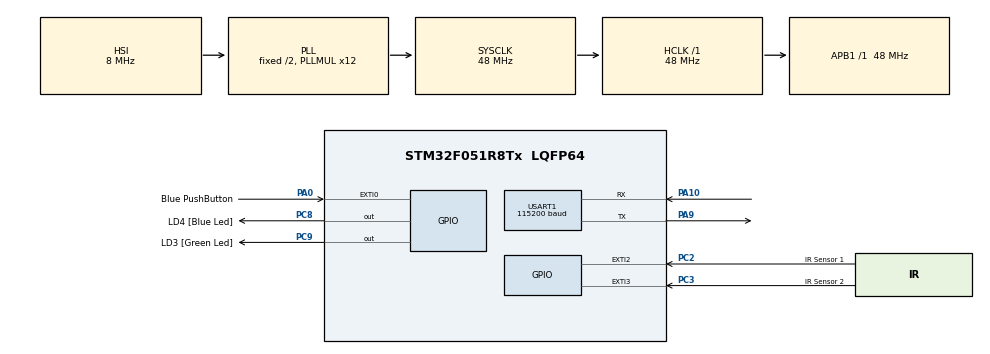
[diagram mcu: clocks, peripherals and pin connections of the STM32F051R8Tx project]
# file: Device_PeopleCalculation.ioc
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FREERTOS.Tasks01=UART_Com,24,64,StartUART,Default,NULL,Dynamic,NULL,NULL;LED_Blink,8,64,StartLEDBlink,Default,NULL,Dynamic,NULL,NULL;IRSensor,40,64,StartIRSensor,Default,NULL,Dynamic,NULL,NULL;FlashMemCheck,8,64,StartMemoryCheck,Default,NULL,Dynamic,NULL,NULL
FREERTOS.configMINIMAL_STACK_SIZE=64
FREERTOS.configTOTAL_HEAP_SIZE=2048
FREERTOS.configUSE_NEWLIB_REENTRANT=1
Mcu.Family=STM32F0
Mcu.Name=STM32F051R8Tx
Mcu.Package=LQFP64
NVIC.EXTI2_3_IRQn=true\:3\:0\:false\:false\:true\:true\:true\:true\:true
NVIC.PVD_IRQn=true\:3\:0\:false\:false\:true\:true\:true\:true\:true
NVIC.TIM6_DAC_IRQn=true\:3\:0\:false\:false\:true\:false\:false\:true\:true
NVIC.TimeBase=TIM6_DAC_IRQn
NVIC.TimeBaseIP=TIM6
NVIC.USART1_IRQn=true\:3\:0\:false\:false\:true\:true\:true\:true\:true
PA0.GPIO_Label=Blue PushButton
PA0.GPIO_ModeDefaultEXTI=GPIO_MODE_EVT_RISING
PA0.Signal=GPXTI0
PA10.Mode=Asynchronous
PA10.Signal=USART1_RX
PA13.GPIO_Label=SWDIO
PA13.Mode=Serial_Wire
PA13.Signal=SYS_SWDIO
PA14.GPIO_Label=SWCLK
PA14.Mode=Serial_Wire
PA14.Signal=SYS_SWCLK
PA9.Mode=Asynchronous
PA9.Signal=USART1_TX
PC2.GPIO_Label=IR Sensor 1
PC2.GPIO_ModeDefaultEXTI=GPIO_MODE_IT_RISING_FALLING
PC2.Signal=GPXTI2
PC3.GPIO_Label=IR Sensor 2
PC3.GPIO_ModeDefaultEXTI=GPIO_MODE_IT_RISING_FALLING
PC3.Signal=GPXTI3
PC8.GPIO_Label=LD4 [Blue Led]
PC8.Signal=GPIO_Output
PC9.GPIO_Label=LD3 [Green Led]
PC9.GPIO_Speed=GPIO_SPEED_FREQ_HIGH
PC9.Signal=GPIO_Output
ProjectManager.HeapSize=0x200
ProjectManager.StackSize=0x400
ProjectManager.TargetToolchain=STM32CubeIDE
RCC.AHBFreq_Value=48000000
RCC.APB1Freq_Value=48000000
RCC.APB1TimFreq_Value=48000000
RCC.HCLKFreq_Value=48000000
RCC.PLLMUL=RCC_PLL_MUL12
RCC.SYSCLKFreq_VALUE=48000000
RCC.SYSCLKSource=RCC_SYSCLKSOURCE_PLLCLK
USART1.BaudRate=115200
USART1.VirtualMode-Asynchronous=VM_ASYNC
VP_FREERTOS_VS_CMSIS_V2.Mode=CMSIS_V2
VP_SYS_VS_tim6.Mode=TIM6
board=STM32F0DISCOVERY

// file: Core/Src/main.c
/* USER CODE BEGIN Header */
/**
  ******************************************************************************
  * @file           : main.c
  * @brief          : Main program body
  ******************************************************************************
  * @attention
  *
  * Copyright (c) 2023 STMicroelectronics.
  * All rights reserved.
  *
  * This software is licensed under terms that can be found in the LICENSE file
  * in the root directory of this software component.
  * If no LICENSE file comes with this software, it is provided AS-IS.
  *
  ******************************************************************************
  */
/* USER CODE END Header */
#include "main.h"
#include "cmsis_os.h"

/* USER CODE BEGIN Includes */
#include <string.h>
/* USER CODE END Includes */

UART_HandleTypeDef huart1;

/* Definitions for UART_Com */
osThreadId_t UART_ComHandle;
const osThreadAttr_t UART_Com_attributes = {
  .name = "UART_Com",
  .stack_size = 64 * 4,
  .priority = (osPriority_t) osPriorityNormal,
};
/* Definitions for LED_Blink */
osThreadId_t LED_BlinkHandle;
const osThreadAttr_t LED_Blink_attributes = {
  .name = "LED_Blink",
  .stack_size = 64 * 4,
  .priority = (osPriority_t) osPriorityLow,
};
/* Definitions for IRSensor */
osThreadId_t IRSensorHandle;
const osThreadAttr_t IRSensor_attributes = {
  .name = "IRSensor",
  .stack_size = 64 * 4,
  .priority = (osPriority_t) osPriorityHigh,
};
/* Definitions for FlashMemCheck */
osThreadId_t FlashMemCheckHandle;
const osThreadAttr_t FlashMemCheck_attributes = {
  .name = "FlashMemCheck",
  .stack_size = 64 * 4,
  .priority = (osPriority_t) osPriorityLow,
};
/* USER CODE BEGIN PV */

HAL_StatusTypeDef uartState;
uint8_t uartBuffer[BUFFER_SIZE] = "Hi!\r\n";
uint32_t flashBuffer[4];
uint32_t peopleInCount = 0;
uint32_t peopleOutCount = 0;
GPIO_PinState sensorState = GPIO_PIN_SET;
GPIO_PinState sensor1State = GPIO_PIN_SET;
GPIO_PinState sensor2State = GPIO_PIN_SET;
uint8_t sensorMessage[SENSOR_MESSAGE_SIZE] = "Object detected!\r\n";
uint8_t sensorMessageIn[SENSOR_MESSAGE_SIZE] = "Object IN!\r\n";
uint8_t sensorMessageOut[SENSOR_MESSAGE_SIZE] = "Object OUT!\r\n";
uint8_t messageBrownOUT[SENSOR_MESSAGE_SIZE] = "Brownout detected!\r\n";
uint32_t sensor1Timestamp;
uint32_t sensor2Timestamp;
FLASH_EraseInitTypeDef EraseInitStruct;
uint32_t PageError;

USER_DATA_EVENTS dataEvent = Transmitted;

/* USER CODE END PV */

void SystemClock_Config(void);
static void MX_GPIO_Init(void);
static void MX_USART1_UART_Init(void);
void StartUART(void *argument);
void StartLEDBlink(void *argument);
void StartIRSensor(void *argument);
void StartMemoryCheck(void *argument);

/* USER CODE BEGIN PFP */
uint32_t FlashEraseData(FLASH_EraseInitTypeDef EraseInitStruct, uint32_t PageError);
uint32_t FlashWriteData(uint32_t startPageAddress, uint32_t *data, uint16_t wordsNumber);
void FlashReadData(uint32_t startPageAddress, uint32_t *rxBuffer, uint16_t wordsNumber);
void ConvertToStr(uint32_t num1, uint32_t num2, uint8_t* buf);
void updateBuffer(uint32_t* buffer);
void Init_PVD();
void HAL_PWR_PVDCallback();
/* USER CODE END PFP */

int main(void)
{

  /* MCU Configuration--------------------------------------------------------*/

  /* Reset of all peripherals, Initializes the Flash interface and the Systick. */
  HAL_Init();

  /* Configure the system clock */
  SystemClock_Config();

  /* Initialize all configured peripherals */
  MX_GPIO_Init();
  MX_USART1_UART_Init();
  /* USER CODE BEGIN 2 */
  __HAL_UART_ENABLE_IT(&huart1, UART_IT_RXNE);
  __HAL_UART_ENABLE_IT(&huart1, UART_IT_TC);

//  Init_PVD();

  EraseInitStruct.TypeErase = FLASH_TYPEERASE_PAGES;
  EraseInitStruct.PageAddress = USER_DATA_START_PAGE_ADDRESS;
  EraseInitStruct.NbPages = 1;
  /* USER CODE END 2 */

  /* Init scheduler */
  osKernelInitialize();

  /* Create the thread(s) */
  /* creation of UART_Com */
  UART_ComHandle = osThreadNew(StartUART, NULL, &UART_Com_attributes);

  /* creation of LED_Blink */
  LED_BlinkHandle = osThreadNew(StartLEDBlink, NULL, &LED_Blink_attributes);

  /* creation of IRSensor */
  IRSensorHandle = osThreadNew(StartIRSensor, NULL, &IRSensor_attributes);

  /* creation of FlashMemCheck */
  FlashMemCheckHandle = osThreadNew(StartMemoryCheck, NULL, &FlashMemCheck_attributes);

  /* Start scheduler */
  osKernelStart();
  /* We should never get here as control is now taken by the scheduler */
  /* Infinite loop */
  while (1)
  {

  }
}

void SystemClock_Config(void)
{
  RCC_OscInitTypeDef RCC_OscInitStruct = {0};
  RCC_ClkInitTypeDef RCC_ClkInitStruct = {0};
  RCC_PeriphCLKInitTypeDef PeriphClkInit = {0};

  /** Initializes the RCC Oscillators according to the specified parameters
  * in the RCC_OscInitTypeDef structure.
  */
  RCC_OscInitStruct.OscillatorType = RCC_OSCILLATORTYPE_HSI;
  RCC_OscInitStruct.HSIState = RCC_HSI_ON;
  RCC_OscInitStruct.HSICalibrationValue = RCC_HSICALIBRATION_DEFAULT;
  RCC_OscInitStruct.PLL.PLLState = RCC_PLL_ON;
  RCC_OscInitStruct.PLL.PLLSource = RCC_PLLSOURCE_HSI;
  RCC_OscInitStruct.PLL.PLLMUL = RCC_PLL_MUL12;
  RCC_OscInitStruct.PLL.PREDIV = RCC_PREDIV_DIV1;
  if (HAL_RCC_OscConfig(&RCC_OscInitStruct) != HAL_OK)
  {
    Error_Handler();
  }

  /** Initializes the CPU, AHB and APB buses clocks
  */
  RCC_ClkInitStruct.ClockType = RCC_CLOCKTYPE_HCLK|RCC_CLOCKTYPE_SYSCLK
                              |RCC_CLOCKTYPE_PCLK1;
  RCC_ClkInitStruct.SYSCLKSource = RCC_SYSCLKSOURCE_PLLCLK;
  RCC_ClkInitStruct.AHBCLKDivider = RCC_SYSCLK_DIV1;
  RCC_ClkInitStruct.APB1CLKDivider = RCC_HCLK_DIV1;

  if (HAL_RCC_ClockConfig(&RCC_ClkInitStruct, FLASH_LATENCY_1) != HAL_OK)
  {
    Error_Handler();
  }
  PeriphClkInit.PeriphClockSelection = RCC_PERIPHCLK_USART1;
  PeriphClkInit.Usart1ClockSelection = RCC_USART1CLKSOURCE_PCLK1;
  if (HAL_RCCEx_PeriphCLKConfig(&PeriphClkInit) != HAL_OK)
  {
    Error_Handler();
  }
}

static void MX_USART1_UART_Init(void)
{

  huart1.Instance = USART1;
  huart1.Init.BaudRate = 115200;
  huart1.Init.WordLength = UART_WORDLENGTH_8B;
  huart1.Init.StopBits = UART_STOPBITS_1;
  huart1.Init.Parity = UART_PARITY_NONE;
  huart1.Init.Mode = UART_MODE_TX_RX;
  huart1.Init.HwFlowCtl = UART_HWCONTROL_NONE;
  huart1.Init.OverSampling = UART_OVERSAMPLING_16;
  huart1.Init.OneBitSampling = UART_ONE_BIT_SAMPLE_DISABLE;
  huart1.AdvancedInit.AdvFeatureInit = UART_ADVFEATURE_NO_INIT;
  if (HAL_UART_Init(&huart1) != HAL_OK)
  {
    Error_Handler();
  }

}

static void MX_GPIO_Init(void)
{
  GPIO_InitTypeDef GPIO_InitStruct = {0};

  /* GPIO Ports Clock Enable */
  __HAL_RCC_GPIOC_CLK_ENABLE();
  __HAL_RCC_GPIOA_CLK_ENABLE();

  /*Configure GPIO pin Output Level */
  HAL_GPIO_WritePin(GPIOC, LD4_Pin|LD3_Pin, GPIO_PIN_RESET);

  /*Configure GPIO pins : IR_Sensor_1_Pin IR_Sensor_2_Pin */
  GPIO_InitStruct.Pin = IR_Sensor_1_Pin|IR_Sensor_2_Pin;
  GPIO_InitStruct.Mode = GPIO_MODE_IT_RISING_FALLING;
  GPIO_InitStruct.Pull = GPIO_NOPULL;
  HAL_GPIO_Init(GPIOC, &GPIO_InitStruct);

  /*Configure GPIO pin : Blue_PushButton_Pin */
  GPIO_InitStruct.Pin = Blue_PushButton_Pin;
  GPIO_InitStruct.Mode = GPIO_MODE_EVT_RISING;
  GPIO_InitStruct.Pull = GPIO_NOPULL;
  HAL_GPIO_Init(Blue_PushButton_GPIO_Port, &GPIO_InitStruct);

  /*Configure GPIO pin : LD4_Pin */
  GPIO_InitStruct.Pin = LD4_Pin;
  GPIO_InitStruct.Mode = GPIO_MODE_OUTPUT_PP;
  GPIO_InitStruct.Pull = GPIO_NOPULL;
  GPIO_InitStruct.Speed = GPIO_SPEED_FREQ_LOW;
  HAL_GPIO_Init(LD4_GPIO_Port, &GPIO_InitStruct);

  /*Configure GPIO pin : LD3_Pin */
  GPIO_InitStruct.Pin = LD3_Pin;
  GPIO_InitStruct.Mode = GPIO_MODE_OUTPUT_PP;
  GPIO_InitStruct.Pull = GPIO_NOPULL;
  GPIO_InitStruct.Speed = GPIO_SPEED_FREQ_HIGH;
  HAL_GPIO_Init(LD3_GPIO_Port, &GPIO_InitStruct);

  /* EXTI interrupt init*/
  HAL_NVIC_SetPriority(EXTI2_3_IRQn, 3, 0);
  HAL_NVIC_EnableIRQ(EXTI2_3_IRQn);

}

/* USER CODE BEGIN 4 */

///=========================================================================
/// @brief Function for transmiting echo message via UART
///=========================================================================
void HAL_UARTEx_RxEventCallback(UART_HandleTypeDef *huart, uint16_t Size)
{
	if (huart->Instance == USART1)
	{
		HAL_UART_Transmit_IT(&huart1, uartBuffer, Size);
		HAL_UARTEx_ReceiveToIdle_IT(&huart1, uartBuffer, sizeof(uartBuffer));
		uartState = HAL_OK;
	}
}

///=========================================================================
/// @brief Function for tracking UART errors
///=========================================================================
void HAL_UART_ErrorCallback(UART_HandleTypeDef *huart)
{
	if (huart->Instance == USART1)
	{
		uartState = HAL_ERROR;
	}
}

///=========================================================================
/// @brief Function for sensor interrupt callback
///=========================================================================
void HAL_GPIO_EXTI_Callback(uint16_t GPIO_Pin)
{
	if (HAL_GPIO_ReadPin(GPIOC, GPIO_PIN_2) == GPIO_PIN_RESET)
	{
      sensor1State = GPIO_PIN_RESET;
      sensor1Timestamp = HAL_GetTick();
	}
	if (HAL_GPIO_ReadPin(GPIOC, GPIO_PIN_3) == GPIO_PIN_RESET)
	{
      sensor2State = GPIO_PIN_RESET;
      sensor2Timestamp = HAL_GetTick();
	}
}

///=========================================================================
/// @brief Function for initializing PVD for brownout handling
///=========================================================================
void Init_PVD()
{
    PWR_PVDTypeDef sConfigPVD;

    sConfigPVD.PVDLevel = PWR_PVDLEVEL_7;
    sConfigPVD.Mode = PWR_PVD_MODE_IT_RISING_FALLING;

    HAL_PWR_ConfigPVD(&sConfigPVD);
    HAL_PWR_EnablePVD();
}

///=========================================================================
/// @brief Function for data saving after brownout detection
///=========================================================================
void HAL_PWR_PVDCallback()
{
    updateBuffer(flashBuffer);
	FlashWriteData(USER_DATA_START_PAGE_ADDRESS, (uint32_t *)flashBuffer, 4);
	HAL_UART_Transmit_IT(&huart1, messageBrownOUT, SENSOR_MESSAGE_SIZE);
}

///=========================================================================
/// @brief Function for erasing specific data page in flash memory
/// @return result (success == 0)
///=========================================================================
uint32_t FlashEraseData(FLASH_EraseInitTypeDef EraseInitStruct, uint32_t PageError)
{
	HAL_FLASH_Unlock();
	if (HAL_FLASHEx_Erase(&EraseInitStruct, &PageError) != HAL_OK)
	{
		return HAL_FLASH_GetError();
	}
	HAL_FLASH_Lock();
	return 0;
}

///=========================================================================
/// @brief Function for writing data to specific data page in flash memory
/// @return result (success == 0)
///=========================================================================
uint32_t FlashWriteData(uint32_t startPageAddress, uint32_t *data, uint16_t wordsNumber)
{
	FlashEraseData(EraseInitStruct, PageError);
	HAL_FLASH_Unlock();
    for (uint16_t count = 0; count < wordsNumber; count++)
    {
    	if (HAL_FLASH_Program(FLASH_TYPEPROGRAM_WORD, startPageAddress, data[count]) == HAL_OK)
    	{
    		startPageAddress += FLASH_MEMORY_WORD_SIZE;
    	}
    	else
    	{
    		return HAL_FLASH_GetError();
      }
    }
    HAL_FLASH_Lock();
    return 0;
}

///=========================================================================
/// @brief Function for reading data from specific data page in flash memory
///=========================================================================
void FlashReadData(uint32_t startPageAddress, uint32_t *rxBuffer, uint16_t wordsNumber)
{
	for (; wordsNumber > 0; wordsNumber--)
	{
		*rxBuffer = *(__IO uint32_t *)startPageAddress;
		startPageAddress += FLASH_MEMORY_WORD_SIZE;
		rxBuffer++;
	}
}

///=========================================================================
/// @brief Function for converting 2 integer values to string
///        and writing the string in buffer
///=========================================================================
void ConvertToStr(uint32_t num1, uint32_t num2, uint8_t* buf)
{
    uint32_t i = 2;
    uint32_t len = strlen(buf);
    uint32_t temp, rem;

    buf[0] = '\n';
    buf[1] = '\r';
    while (num2 != 0)
    {
        rem = num2 % 10;
        buf[i++] = rem + '0';
        num2 /= 10;
    }
    buf[i++] = 32;
    while (num1 != 0)
	  {
		  rem = num1 % 10;
		  buf[i++] = rem + '0';
		  num1 /= 10;
	  }
    buf[i] = '\0';

    for (int j = 0; j < len/2; j++)
    {
        temp = buf[j];
        buf[j] = buf[len - j - 1];
        buf[len - j - 1] = temp;
    }
}

///=========================================================================
/// @brief Function for updating buffer with key words and data from sensor
///=========================================================================
void updateBuffer(uint32_t *buffer)
{
	buffer[0] = 1;
	buffer[1] = peopleInCount;
	buffer[2] = peopleOutCount;
	buffer[3] = 2;
}

/* USER CODE END 4 */

void StartUART(void *argument)
{
  /* USER CODE BEGIN 5 */
  HAL_UART_Transmit(&huart1, uartBuffer, sizeof(uartBuffer), TRANSMISSION_TIMEOUT);
  HAL_UARTEx_ReceiveToIdle_IT(&huart1, uartBuffer, sizeof(uartBuffer));
  /* Infinite loop */
  for(;;)
  {
	if (uartState != HAL_OK)	// Check if UART is working
	{
		osThreadSuspend(LED_BlinkHandle);	// Suspend led blinking if UART communication fails
		HAL_GPIO_WritePin (GPIOC, GPIO_PIN_8, GPIO_PIN_RESET);
	}
	else
	{
		if (osThreadGetState(LED_BlinkHandle) != osThreadRunning)
		{
			osThreadResume(LED_BlinkHandle);	// Resume led blinking if UART is working
		}
	}
    osDelay(LED_BLINK_DELAY);
  }
  /* USER CODE END 5 */
}

void StartLEDBlink(void *argument)
{
  /* USER CODE BEGIN StartLEDBlink */
  /* Infinite loop */
  for(;;)
  {
	HAL_GPIO_TogglePin(GPIOC, GPIO_PIN_8);	// Blink blue led
	osDelay(LED_BLINK_DELAY);
  }
  /* USER CODE END StartLEDBlink */
}

void StartIRSensor(void *argument)
{
  /* USER CODE BEGIN StartIRSensor */
  /* Infinite loop */
  for(;;)
  {
    if (sensor1State == GPIO_PIN_RESET && sensor2State == GPIO_PIN_RESET)
    {
      if (sensor1Timestamp > sensor2Timestamp)
      {
        sensor1Timestamp = sensor1Timestamp - sensor2Timestamp;
        if (sensor1Timestamp <= WALKTHROUGH_INTERVAL)
        {
          HAL_UART_Transmit_IT(&huart1, sensorMessageIn, SENSOR_MESSAGE_SIZE);
          peopleInCount++;
        }
      }
      if (sensor1Timestamp < sensor2Timestamp)
      {
        sensor1Timestamp = sensor2Timestamp - sensor1Timestamp;
        if (sensor1Timestamp <= WALKTHROUGH_INTERVAL)
        {
          HAL_UART_Transmit_IT(&huart1, sensorMessageOut, SENSOR_MESSAGE_SIZE);
          peopleOutCount++;
        }
      }
      sensor1State = GPIO_PIN_SET;
      sensor2State = GPIO_PIN_SET;
    }

    FlashReadData(USER_DATA_START_PAGE_ADDRESS, flashBuffer, 4);
    if (flashBuffer[0] == USER_DATA_START_KEYWORD &&
        flashBuffer[3] == USER_DATA_END_KEYWORD && dataEvent == Saved)
    {
		ConvertToStr(flashBuffer[1], flashBuffer[2], uartBuffer);
		HAL_UART_Transmit_IT(&huart1, uartBuffer, sizeof(uartBuffer));
		dataEvent = Transmitted;
    }

	  osDelay(SENSOR_STATE_CHECK);
  }
  /* USER CODE END StartIRSensor */
}

void StartMemoryCheck(void *argument)
{
  /* USER CODE BEGIN StartMemoryCheck */
  FlashReadData(USER_DATA_START_PAGE_ADDRESS, (uint32_t *)flashBuffer, 4);
  if (flashBuffer[0] != USER_DATA_START_KEYWORD ||
      flashBuffer[3] != USER_DATA_END_KEYWORD)
  {
	  FlashEraseData(EraseInitStruct, PageError);
	  updateBuffer(flashBuffer);
	  FlashWriteData(USER_DATA_START_PAGE_ADDRESS, flashBuffer, 4);
  }
  else
  {
    peopleInCount = flashBuffer[1];
    peopleOutCount = flashBuffer[2];
  }
  /* Infinite loop */
  for(;;)
  {
    updateBuffer(flashBuffer);
	  FlashWriteData(USER_DATA_START_PAGE_ADDRESS, flashBuffer, 4);
    memset(flashBuffer, '\0', sizeof(flashBuffer));
    dataEvent = Saved;

    osDelay(FLASH_MEMORY_UPDATE_INTERVAL);
  }
  /* USER CODE END StartMemoryCheck */
}

void HAL_TIM_PeriodElapsedCallback(TIM_HandleTypeDef *htim)
{
  if (htim->Instance == TIM6) {
    HAL_IncTick();
  }
}

void Error_Handler(void)
{
  __disable_irq();
  while (1)
  {
  }
}
